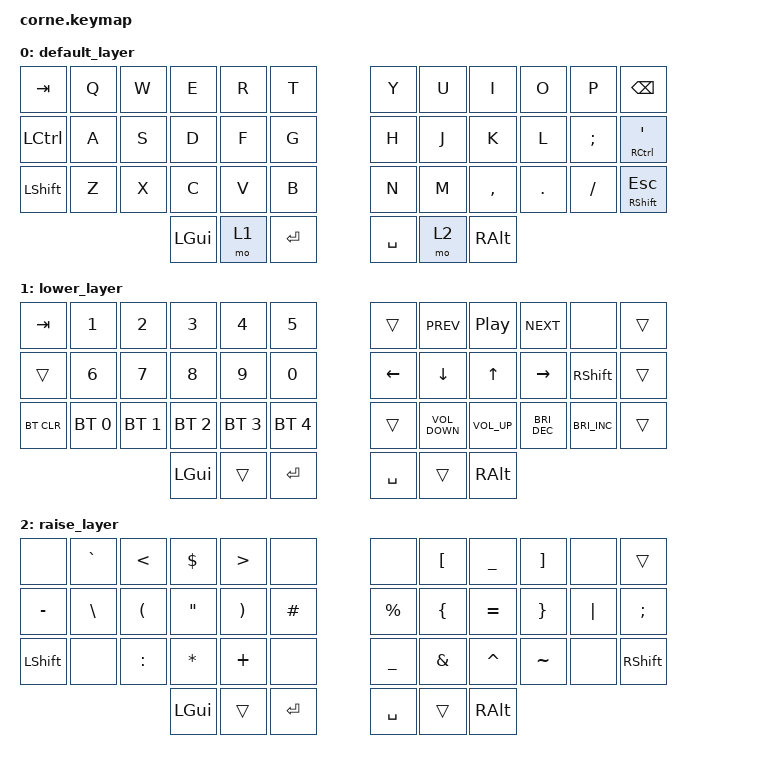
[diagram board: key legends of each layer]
/*
 * Copyright (c) 2020 The ZMK Contributors
 *
 * SPDX-License-Identifier: MIT
 */

#include <behaviors.dtsi>
#include <dt-bindings/zmk/bt.h>
#include <dt-bindings/zmk/keys.h>

&mt { flavor = "tap-preferred"; };

/ {
    keymap {
        compatible = "zmk,keymap";

        default_layer {
            // -----------------------------------------------------------------------------------------
            // |  TAB |  Q  |  W  |  E  |  R  |  T  |   |  Y  |  U   |  I  |  O  |  P  | BSPC |
            // | CTRL |  A  |  S  |  D  |  F  |  G  |   |  H  |  J   |  K  |  L  |  ;  |  '   |
            // | SHFT |  Z  |  X  |  C  |  V  |  B  |   |  N  |  M   |  ,  |  .  |  /  | ESC  |
            //                    | GUI | LWR | SPC |   | ENT | RSE  | ALT |

            bindings = <
&kp TAB           &kp Q  &kp W  &kp E     &kp R  &kp T      &kp Y      &kp U  &kp I      &kp O    &kp P      &kp BSPC
&kp LEFT_CONTROL  &kp A  &kp S  &kp D     &kp F  &kp G      &kp H      &kp J  &kp K      &kp L    &kp SEMI   &mt RIGHT_CONTROL SQT
&kp LSHFT         &kp Z  &kp X  &kp C     &kp V  &kp B      &kp N      &kp M  &kp COMMA  &kp DOT  &kp SLASH  &mt RIGHT_SHIFT ESC
                                &kp LGUI  &mo 1  &kp RET    &kp SPACE  &mo 2  &kp RALT
            >;
        };

        lower_layer {
            // -----------------------------------------------------------------------------------------
            // |  TAB |  1  |  2  |  3  |  4  |  5  |   |  6  |  7  |  8  |  9  |  0  | BSPC |
            // | BTCLR| BT1 | BT2 | BT3 | BT4 | BT5 |   | LFT | DWN |  UP | RGT |     |      |
            // | SHFT |     |     |     |     |     |   |     |     |     |     |     |      |
            //                    | GUI |     | SPC |   | ENT |     | ALT |

            bindings = <
&kp TAB     &kp N1        &kp N2        &kp N3        &kp N4        &kp N5          &trans     &kp C_PREV         &kp C_PLAY_PAUSE  &kp C_NEXT            &none                 &trans
&trans      &kp NUMBER_6  &kp NUMBER_7  &kp NUMBER_8  &kp NUMBER_9  &kp NUMBER_0    &kp LEFT   &kp DOWN           &kp UP_ARROW      &kp RIGHT             &kp RSHIFT            &trans
&bt BT_CLR  &bt BT_SEL 0  &bt BT_SEL 1  &bt BT_SEL 2  &bt BT_SEL 3  &bt BT_SEL 4    &trans     &kp C_VOLUME_DOWN  &kp C_VOLUME_UP   &kp C_BRIGHTNESS_DEC  &kp C_BRIGHTNESS_INC  &trans
                                        &kp LGUI      &trans        &kp RET         &kp SPACE  &trans             &kp RALT
            >;
        };

        raise_layer {
            // -----------------------------------------------------------------------------------------
            // |  TAB |  !  |  @  |  #  |  $  |  %  |   |  ^  |  &  |  *  |  (  |  )  | BSPC |
            // | CTRL |     |     |     |     |     |   |  -  |  =  |  [  |  ]  |  \  |  `   |
            // | SHFT |     |     |     |     |     |   |  _  |  +  |  {  |  }  | "|" |  ~   |
            //                    | GUI |     | SPC |   | ENT |     | ALT |

            bindings = <
&none       &kp GRAVE      &kp LESS_THAN         &kp DOLLAR         &kp GREATER_THAN       &none       &none        &kp LBKT        &kp UNDERSCORE  &kp RIGHT_BRACKET  &none     &trans
&kp MINUS   &kp BACKSLASH  &kp LEFT_PARENTHESIS  &kp DOUBLE_QUOTES  &kp RIGHT_PARENTHESIS  &kp HASH    &kp PERCENT  &kp LEFT_BRACE  &kp EQUAL       &kp RIGHT_BRACE    &kp PIPE  &kp SEMICOLON
&kp LSHIFT  &none          &kp COLON             &kp ASTERISK       &kp PLUS               &none       &kp UNDER    &kp AMPERSAND   &kp CARET       &kp TILDE          &none     &kp RSHIFT
                                                 &kp LGUI           &trans                 &kp RET     &kp SPACE    &trans          &kp RALT
            >;
        };
    };
};
